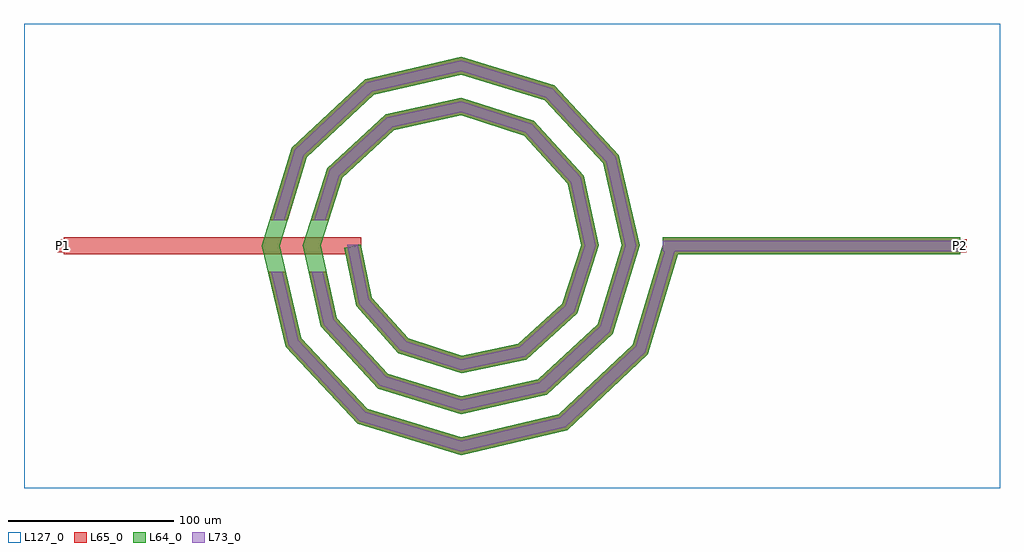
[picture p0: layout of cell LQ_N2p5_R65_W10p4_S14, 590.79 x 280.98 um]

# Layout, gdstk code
import gdstk
lib = gdstk.Library(unit=1e-6, precision=1e-09)
def R(c, l, rs):  # rectangles x0, y0, x1, y1
    for r in rs: c.add(gdstk.rectangle(r[:2], r[2:], *l))
def P(c, l, *ps):  # polygons
    for p in ps: c.add(gdstk.Polygon(p, *l))
L64_0 = (64, 0)
L65_0 = (65, 0)
L73_0 = (73, 0)
L127_0 = (127, 0)

lq_n2p5_r65_w10p4_s14 = lib.new_cell('LQ_N2p5_R65_W10p4_S14')
R(lq_n2p5_r65_w10p4_s14, L64_0, [(122.248,-5.2,302.248,5.2)])
P(lq_n2p5_r65_w10p4_s14, L64_0, [(-53.912,-31.477),(-31.986,-55.992),(0.287,-66.54),(34.54,-59.267),(61.323,-35.091),(72.709,0.264),(64.62,37.606),(38.193,66.655),(0.245,78.878),(-40.675,69.972),(-71.989,41.293),(-85.048,0.228),(-75.323,-43.746),(-44.391,-77.325),(0.214,-91.217),(46.818,-80.673),(82.661,-47.488),(97.387,0.201),(86.022,49.892),(50.583,87.998),(0.19,103.557),(-52.968,91.371),(-93.336,53.677),(-109.727,0.179),(-96.719,-56.044),(-56.77,-98.675),(0.17,-115.896),(59.122,-102.067),(104.014,-59.862),(122.468,1.498),(132.427,-1.498),(113.17,-65.529),(64.213,-111.555),(0.17,-126.659),(-62.451,-107.822),(-106.215,-61.12),(-120.488,0.179),(-102.473,59.374),(-58.026,100.877),(0.19,114.318),(56.298,97.124),(95.538,54.932),(108.148,0.201),(91.775,-53.223),(51.836,-90.201),(0.214,-101.977),(-50.149,-86.424),(-84.864,-48.738),(-95.806,0.228),(-81.073,47.077),(-45.639,79.528),(0.245,89.636),(44.007,75.72),(74.193,42.538),(83.465,0.264),(70.365,-40.939),(39.434,-68.859),(0.287,-77.294),(-37.874,-65.009),(-63.527,-36.326),(-70.839,-1.055),(-60.655,1.055)])
R(lq_n2p5_r65_w10p4_s14, L65_0, [(-240.547,-5.2,-60.547,5.2), (122.248,-5.2,302.248,5.2), (-244.547,-4,-236.547,4), (298.248,-4,306.248,4)])
P(lq_n2p5_r65_w10p4_s14, L65_0, [(-96.719,-56.044),(-56.77,-98.675),(0.17,-115.896),(59.122,-102.067),(104.014,-59.862),(122.468,1.498),(132.427,-1.498),(113.17,-65.529),(64.213,-111.555),(0.17,-126.659),(-62.451,-107.822),(-106.215,-61.12),(-116.814,-15.6),(-106.136,-15.6)],
  [(-75.323,-43.746),(-44.391,-77.325),(0.214,-91.217),(46.818,-80.673),(82.661,-47.488),(97.387,0.201),(86.022,49.892),(50.583,87.998),(0.19,103.557),(-52.968,91.371),(-93.336,53.677),(-104.924,15.6),(-115.795,15.6),(-102.473,59.374),(-58.026,100.877),(0.19,114.318),(56.298,97.124),(95.538,54.932),(108.148,0.201),(91.775,-53.223),(51.836,-90.201),(0.214,-101.977),(-50.149,-86.424),(-84.864,-48.738),(-92.269,-15.6),(-81.613,-15.6)],
  [(-31.986,-55.992),(0.287,-66.54),(34.54,-59.267),(61.323,-35.091),(72.709,0.264),(64.62,37.606),(38.194,66.655),(0.245,78.878),(-40.675,69.972),(-71.989,41.293),(-80.07,15.6),(-90.972,15.6),(-81.073,47.077),(-45.639,79.528),(0.245,89.636),(44.007,75.72),(74.193,42.538),(83.465,0.264),(70.366,-40.939),(39.434,-68.859),(0.287,-77.294),(-37.874,-65.009),(-63.528,-36.326),(-70.839,-1.055),(-60.655,1.055),(-53.912,-31.477)])
R(lq_n2p5_r65_w10p4_s14, L73_0, [(122.248,-3.2,302.248,3.2)])
P(lq_n2p5_r65_w10p4_s14, L73_0, [(-98.545,-57.02),(-57.862,-100.434),(0.105,-117.966),(60.101,-103.891),(105.775,-60.952),(124.383,0.922),(130.512,0.922),(111.409,-64.439),(63.234,-109.73),(0.105,-124.589),(-61.358,-106.063),(-104.389,-60.144),(-114.761,-15.6),(-108.19,-15.6)],
  [(-77.158,-44.706),(-45.499,-79.075),(0.132,-93.287),(47.783,-82.505),(84.414,-48.591),(99.456,0.124),(87.852,50.862),(51.682,89.753),(0.117,105.626),(-53.941,93.199),(-95.093,54.772),(-107.015,15.6),(-113.705,15.6),(-100.716,58.278),(-57.054,99.049),(0.117,112.249),(55.199,95.369),(93.708,53.963),(106.078,0.124),(90.022,-52.12),(50.871,-88.368),(0.132,-99.908),(-49.042,-84.674),(-83.029,-47.778),(-90.22,-15.6),(-83.662,-15.6)],
  [(-33.118,-57.726),(0.177,-68.608),(35.481,-61.111),(63.062,-36.216),(74.778,0.163),(66.461,38.554),(39.311,68.399),(0.151,80.947),(-41.629,71.81),(-73.736,42.406),(-82.166,15.6),(-88.876,15.6),(-79.326,45.965),(-44.684,77.69),(0.151,87.567),(42.889,73.977),(72.352,41.589),(81.396,0.163),(68.627,-39.815),(38.493,-67.015),(0.177,-75.226),(-36.742,-63.275),(-61.678,-35.394),(-68.88,0.65),(-62.613,0.65),(-55.761,-32.41)])
R(lq_n2p5_r65_w10p4_s14, L127_0, [(-264.547,-146.659,326.248,134.318)])
lq_n2p5_r65_w10p4_s14.add(gdstk.Label('P2', (302.248,0), layer=65, texttype=0))
lq_n2p5_r65_w10p4_s14.add(gdstk.Label('P1', (-240.547,0), layer=65, texttype=0))
lq_n2p5_r65_w10p4_s14.add(gdstk.Label('P2', (306.248,0), layer=145, texttype=0))
lq_n2p5_r65_w10p4_s14.add(gdstk.Label('P1', (-244.547,0), layer=145, texttype=0))

lib.write_gds('LQ_N2p5_R65_W10p4_S14.gds')
